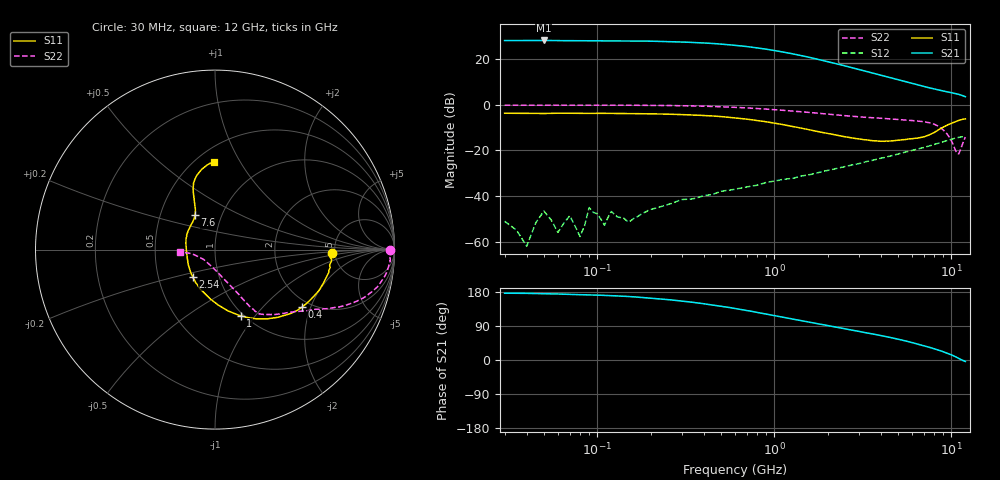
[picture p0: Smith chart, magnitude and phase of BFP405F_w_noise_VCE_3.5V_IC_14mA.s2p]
! Infineon Technologies  Discrete & RF Semiconductors
! BFP405F
! VCE =  3.5 V,  IC =  14 mA
! Common Emitter S-Parameters:  Nov 2015
# GHz  S  MA  R  50
!  f  S11  S21  S12  S22
! GHz  MAG  ANG  MAG  ANG  MAG  ANG  MAG  ANG
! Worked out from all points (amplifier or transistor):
!   239 points, 30 MHz to 12 GHz, reference 50 ohm
!   highest |S21| = 28.1 dB at 50 MHz (marker M1)
!   |S21| within 3 dB of that: start of sweep to 755.6 MHz
!   unconditionally stable (mu >= 1): 2.069 GHz to end of sweep
!   at 300 MHz: K = 0.32, MSG = 34.5 dB, |S12| = -41.5 dB
!   at 1.88 GHz: K = 0.95, MSG = 24.3 dB, |S12| = -29.2 dB
!   at 12 GHz: K = 1.38, MAG = 5.0 dB, |S12| = -13.8 dB
!   lowest NFmin = 1.91 dB at 450 MHz
!   S11 on the Smith chart (normalised r, x): 30 MHz: 4.70, -0.35; 400 MHz: 1.79, -1.74; 1 GHz: 0.97, -0.85; 2.54 GHz: 0.75, -0.24; 7.6 GHz: 0.75, +0.30; 12 GHz: 0.61, +0.78
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0.03  0.651 -1.9  25.37 176.3  0.0028 108.7  0.9758 -0.1
0.04  0.6491 -2.9  25.36 175.9  0.0008 136.0  0.9766 -0.7
0.05  0.642 -3.8  25.52 174.8  0.0047 -170.0  0.973 -1.0
0.06  0.6516 -4.8  25.27 174.2  0.0016 143.9  0.9745 -1.4
0.07  0.6516 -5.9  25.23 173.0  0.0037 115.9  0.9817 -1.8
0.08  0.6478 -6.6  25.09 172.4  0.0013 -178.9  0.9795 -2.0
0.085  0.6462 -7.2  25.12 172.2  0.0023 51.4  0.9778 -2.3
0.09  0.6447 -7.8  25.16 172.0  0.0056 41.1  0.9762 -2.7
0.14  0.6439 -12.1  24.93 168.4  0.0034 70.8  0.9773 -4.6
0.24  0.624 -20.8  24.17 160.2  0.0062 88.8  0.9629 -8.0
0.3  0.6078 -25.6  23.65 155.6  0.0084 71.9  0.9504 -9.9
0.4  0.5808 -33.6  22.51 148.4  0.0102 72.7  0.9295 -12.8
0.6  0.515 -47.1  19.98 135.9  0.0141 75.6  0.8762 -17.5
0.78  0.4573 -57.6  17.76 126.6  0.017 71.9  0.8303 -20.7
1  0.3958 -68.9  15.38 117.1  0.0212 71.5  0.779 -23.8
1.3  0.3273 -82.3  12.76 107.0  0.0249 69.6  0.7212 -26.9
1.64  0.2743 -95.8  10.54 98.4  0.0303 69.6  0.6686 -29.8
2.54  0.1974 -128.6  6.992 81.9  0.0445 67.6  0.5735 -37.0
4.5  0.1606 177.5  3.905 59.7  0.0753 62.0  0.4912 -47.3
7.6  0.2234 119.8  2.318 32.8  0.127 50.0  0.3992 -57.2
10.8  0.441 101.2  1.718 6.2  0.1895 31.8  0.0848 -119.0
12  0.4888 90.9  1.501 -3.9  0.2039 24.8  0.1957 -176.1
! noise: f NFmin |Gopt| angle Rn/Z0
0.45  1.91  0.12  3  0.31
0.9  1.94  0.11  6  0.31
1.5  1.98  0.1  10  0.2
1.9  2.03  0.08  15  0.24
2.4  2.17  0.06  22  0.38
3  2.25  0.04  27  0.41
3.5  2.31  0.02  23  0.49
4.5  2.5  0.07  -88  0.15
5.5  2.76  0.15  -87  0.08
